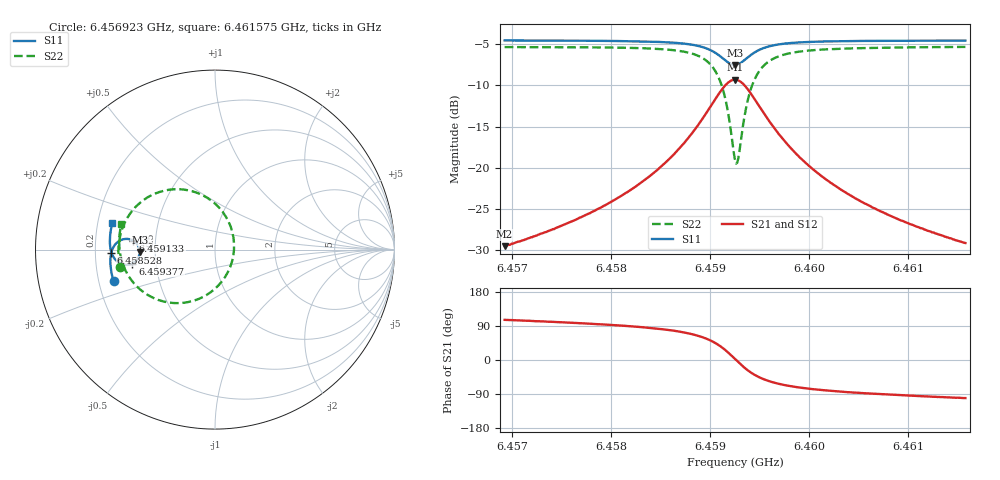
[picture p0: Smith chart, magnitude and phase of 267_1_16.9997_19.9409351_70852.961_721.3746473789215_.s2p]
#  HZ  S  RI  R  50.00
! Rohde & Schwarz Vector Network Analyzer
! Rohde-Schwarz,ZNB20-2Port,1311601062101988,3.16
! Created: UTC 3/20/2024, 11:04:01 PM
! freq[Hz]  re:S11  im:S11  re:S21  im:S21  re:S12  im:S12  re:S22  im:S22
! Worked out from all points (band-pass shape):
!   401 points, 6.456923 GHz to 6.461575 GHz, reference 50 ohm
!   highest |S21| = -9.31 dB at 6.459249 GHz (marker M1); lowest = -29.5 dB at 6.456923 GHz (marker M2)
!   |S21| within 3 dB of the highest: 6.459016 GHz to 6.459482 GHz (465.5 kHz wide, 0.00721 % of centre)
!   lowest |S11| = -7.5 dB at 6.459249 GHz (marker M3), VSWR 2.45, Z = 20.4 - j0.624 ohm
!   |S11| at or under -10 dB: nowhere
!   |S22| runs from -19.5 to -5.3 dB; largest |S21 - S12| = 0.013
!   S11 on the Smith chart (normalised r, x): 6.456923 GHz: 0.26, -0.14; 6.458528 GHz: 0.27, -0.01; 6.459133 GHz: 0.37, +0.05; 6.459377 GHz: 0.37, -0.07; 6.461575 GHz: 0.26, +0.12
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6.4569229e9  -0.5652 -0.1771  -0.00917 0.0321  -0.00745 0.0321  -0.5316 -0.0942
6.4577022e9  -0.5798 -0.1091  -0.00601 0.05  -0.00354 0.0494  -0.5381 -0.00346
6.4581558e9  -0.5832 -0.0639  0.000348 0.0707  0.00354 0.0695  -0.53 0.0686
6.4584814e9  -0.5796 -0.0248  0.0133 0.0982  0.0174 0.0954  -0.5064 0.1425
6.4585279e9  -0.5781 -0.0185  0.0166 0.1035  0.0208 0.1006  -0.5002 0.1556
6.4587373e9  -0.5663 0.0133  0.0425 0.1351  0.0467 0.1304  -0.4518 0.2274
6.4588885e9  -0.5453 0.0397  0.0847 0.1654  0.0882 0.159  -0.374 0.292
6.4590397e9  -0.4995 0.0594  0.176 0.1847  0.1772 0.1773  -0.2069 0.3365
6.4591327e9  -0.4553 0.0496  0.2654 0.1542  0.2657 0.1482  -0.0412 0.2873
6.4591793e9  -0.4343 0.031  0.3087 0.1116  0.3102 0.1066  0.0413 0.2117
6.4592491e9  -0.4195 -0.0126  0.3422 0.0159  0.3458 0.00874  0.1061 0.0337
6.4592607e9  -0.4199 -0.0206  0.342 -0.00181  0.3459 -0.00947  0.1059 0.000329
6.459284e9  -0.4235 -0.0359  0.3366 -0.0362  0.3405 -0.0453  0.0952 -0.0648
6.4593305e9  -0.4388 -0.0617  0.3086 -0.0954  0.3107 -0.1074  0.0386 -0.1772
6.459377e9  -0.4605 -0.0778  0.2672 -0.1364  0.2664 -0.1496  -0.0452 -0.2516
6.45947e9  -0.5035 -0.0846  0.1835 -0.1678  0.1775 -0.1792  -0.212 -0.2983
6.4596212e9  -0.5469 -0.0642  0.0964 -0.1545  0.088 -0.1607  -0.3786 -0.2503
6.4597841e9  -0.5683 -0.0368  0.0518 -0.1272  0.0441 -0.1301  -0.459 -0.1792
6.4600283e9  -0.5812 -0.00114  0.0227 -0.0961  0.0168 -0.0968  -0.5073 -0.0973
6.4603889e9  -0.5857 0.0412  0.00609 -0.0691  0.00224 -0.0686  -0.5295 -0.0161
6.4608076e9  -0.5838 0.083  -0.00126 -0.0514  -0.00402 -0.0506  -0.5335 0.0502
6.4615752e9  -0.5715 0.1508  -0.00637 -0.0343  -0.00803 -0.0334  -0.5225 0.1405
